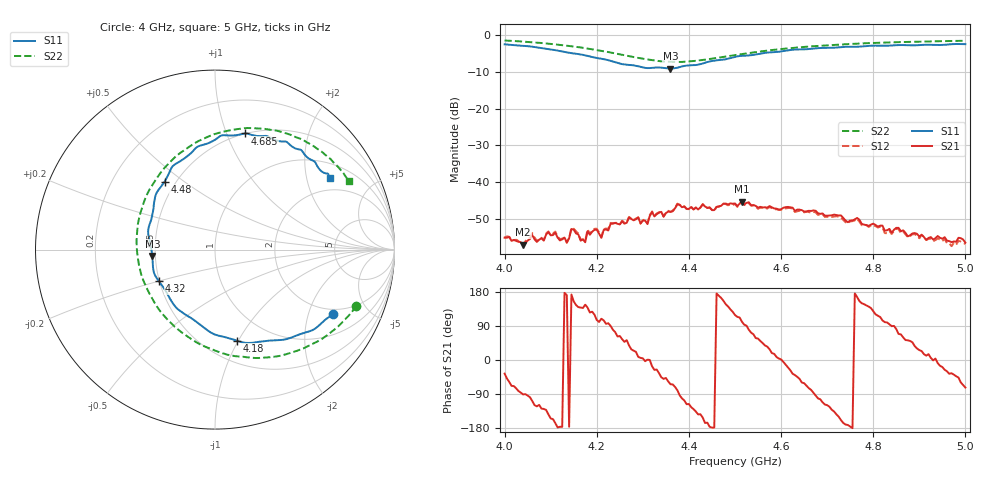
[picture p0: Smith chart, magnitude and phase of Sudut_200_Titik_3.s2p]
# Hz S RI R 50
! CMT, C1220, 16058040, 17.2.0/1
! Date: 15/08/2018 12:40:08
! Data: Format (Calibration Info)
! Freq  S11: Re/Im (F2)  S21: Re/Im (F2)  S12: Re/Im (F2)  S22: Re/Im (F2)
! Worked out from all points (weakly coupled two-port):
!   201 points, 4 GHz to 5 GHz, reference 50 ohm
!   highest |S21| = -45.33 dB at 4.515 GHz (marker M1); lowest = -57.0 dB at 4.04 GHz (marker M2)
!   lowest |S11| = -9.1 dB at 4.36 GHz (marker M3), VSWR 2.08, Z = 24.1 - j1.97 ohm
!   |S11| at or under -10 dB: nowhere
!   |S22| runs from -7.3 to -1.4 dB; largest |S21 - S12| = 0.00023
!   S11 on the Smith chart (normalised r, x): 4 GHz: 1.76, -2.92; 4.18 GHz: 0.71, -0.99; 4.32 GHz: 0.50, -0.20; 4.48 GHz: 0.44, +0.42; 4.685 GHz: 0.50, +1.17; 5 GHz: 1.48, +2.76
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4e9  0.6575 -0.3612  0.00142 -0.00103  0.00146 -0.000997  0.787 -0.3138
4.04e9  0.575 -0.4262  -1.94e-05 -0.00142  9.02e-05 -0.00143  0.7112 -0.4028
4.095e9  0.4209 -0.4917  -0.00169 -0.00125  -0.00171 -0.00129  0.5716 -0.5115
4.135e9  0.2862 -0.5089  -0.00151 0.000238  -0.00149 0.000157  0.4387 -0.5694
4.145e9  0.2465 -0.5135  -0.0023 0.000292  -0.00238 0.000206  0.4011 -0.5815
4.17e9  0.1552 -0.517  -0.00123 0.00113  -0.00123 0.00113  0.3051 -0.5997
4.18e9  0.1227 -0.5078  -0.00161 0.00143  -0.00174 0.00146  0.2629 -0.6024
4.21e9  0.0137 -0.4778  -0.000567 0.00166  -0.000615 0.0017  0.1355 -0.5957
4.23e9  -0.048 -0.4447  6.58e-06 0.00272  1.79e-05 0.0028  0.0468 -0.579
4.27e9  -0.1895 -0.3449  0.00259 0.00206  0.00267 0.00207  -0.125 -0.5032
4.31e9  -0.2857 -0.2137  0.0027 3.86e-05  0.00276 8.21e-05  -0.2765 -0.3767
4.32e9  -0.3123 -0.1766  0.00376 -0.00112  0.00384 -0.00114  -0.3094 -0.3376
4.335e9  -0.3404 -0.1276  0.00317 -0.00218  0.00318 -0.00225  -0.3499 -0.2726
4.36e9  -0.349 -0.0359  0.00174 -0.00355  0.00169 -0.00358  -0.4054 -0.1564
4.375e9  -0.3596 0.0325  0.000876 -0.00494  0.000805 -0.00505  -0.4244 -0.0814
4.48e9  -0.2812 0.3772  -0.0043 0.00278  -0.00414 0.00287  -0.3277 0.3931
4.5e9  -0.2491 0.4412  -0.00247 0.00451  -0.00243 0.00444  -0.2794 0.4572
4.515e9  -0.2286 0.4709  -0.00103 0.00531  -0.00095 0.00527  -0.2384 0.5001
4.67e9  0.1409 0.6417  0.000283 -0.00413  0.000154 -0.00394  0.2056 0.6768
4.685e9  0.1682 0.6474  -0.000883 -0.00361  -0.000859 -0.00344  0.245 0.6748
4.835e9  0.4498 0.5626  -0.000178 0.00231  -0.000143 0.00217  0.5498 0.576
5e9  0.6392 0.4003  0.000448 -0.00144  0.000507 -0.00135  0.7463 0.3825
